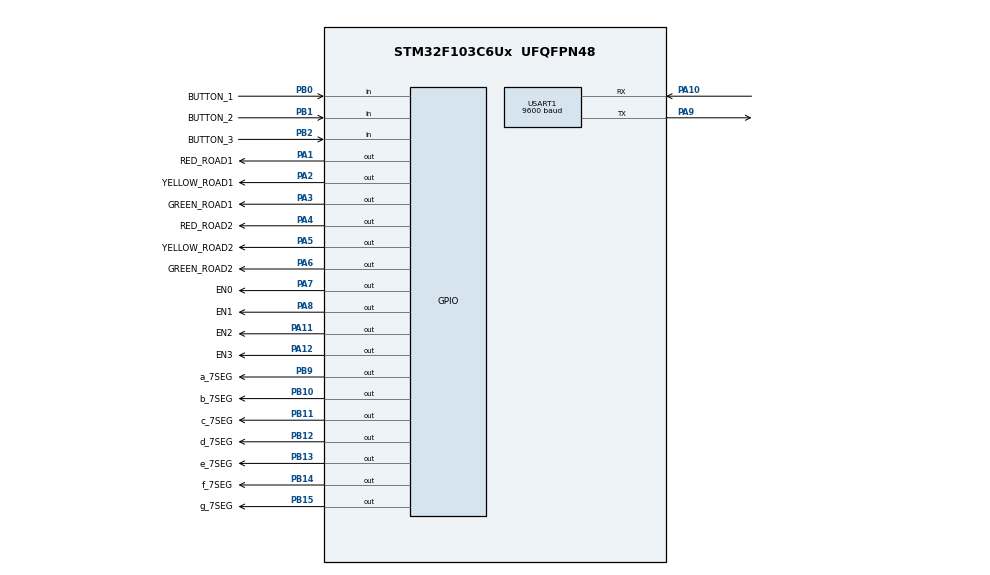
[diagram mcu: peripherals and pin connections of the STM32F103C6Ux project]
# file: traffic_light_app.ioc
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Mcu.Family=STM32F1
Mcu.Name=STM32F103C6Ux
Mcu.Package=UFQFPN48
NVIC.PriorityGroup=NVIC_PRIORITYGROUP_4
NVIC.TIM2_IRQn=true\:0\:0\:false\:false\:true\:true\:true
NVIC.USART1_IRQn=true\:0\:0\:false\:false\:true\:true\:true
PA1.GPIO_Label=RED_ROAD1
PA1.Signal=GPIO_Output
PA10.Mode=Asynchronous
PA10.Signal=USART1_RX
PA11.GPIO_Label=EN2
PA11.Signal=GPIO_Output
PA12.GPIO_Label=EN3
PA12.Signal=GPIO_Output
PA2.GPIO_Label=YELLOW_ROAD1
PA2.Signal=GPIO_Output
PA3.GPIO_Label=GREEN_ROAD1
PA3.Signal=GPIO_Output
PA4.GPIO_Label=RED_ROAD2
PA4.Signal=GPIO_Output
PA5.GPIO_Label=YELLOW_ROAD2
PA5.Signal=GPIO_Output
PA6.GPIO_Label=GREEN_ROAD2
PA6.Signal=GPIO_Output
PA7.GPIO_Label=EN0
PA7.Signal=GPIO_Output
PA8.GPIO_Label=EN1
PA8.Signal=GPIO_Output
PA9.Mode=Asynchronous
PA9.Signal=USART1_TX
PB0.GPIO_Label=BUTTON_1
PB0.GPIO_PuPd=GPIO_PULLUP
PB0.Signal=GPIO_Input
PB1.GPIO_Label=BUTTON_2
PB1.GPIO_PuPd=GPIO_PULLUP
PB1.Signal=GPIO_Input
PB10.GPIO_Label=b_7SEG
PB10.Signal=GPIO_Output
PB11.GPIO_Label=c_7SEG
PB11.Signal=GPIO_Output
PB12.GPIO_Label=d_7SEG
PB12.Signal=GPIO_Output
PB13.GPIO_Label=e_7SEG
PB13.Signal=GPIO_Output
PB14.GPIO_Label=f_7SEG
PB14.Signal=GPIO_Output
PB15.GPIO_Label=g_7SEG
PB15.Signal=GPIO_Output
PB2.GPIO_Label=BUTTON_3
PB2.GPIO_PuPd=GPIO_PULLUP
PB2.Signal=GPIO_Input
PB9.GPIO_Label=a_7SEG
PB9.Signal=GPIO_Output
ProjectManager.HeapSize=0x200
ProjectManager.StackSize=0x400
ProjectManager.TargetToolchain=STM32CubeIDE
RCC.APB1Freq_Value=8000000
RCC.APB2Freq_Value=8000000
TIM2.Period=9
TIM2.Prescaler=7999
USART1.BaudRate=9600
USART1.VirtualMode=VM_ASYNC
VP_SYS_VS_ND.Mode=No_Debug
VP_TIM2_VS_ClockSourceINT.Mode=Internal
board=custom

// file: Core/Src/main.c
/* USER CODE BEGIN Header */
/**
  ******************************************************************************
  * @file           : main.c
  * @brief          : Main program body
  ******************************************************************************
  * @attention
  *
  * <h2><center>&copy; Copyright (c) 2022 STMicroelectronics.
  * All rights reserved.</center></h2>
  *
  * This software component is licensed by ST under BSD 3-Clause license,
  * the "License"; You may not use this file except in compliance with the
  * License. You may obtain a copy of the License at:
  *                        opensource.org/licenses/BSD-3-Clause
  *
  ******************************************************************************
  */
/* USER CODE END Header */
#include "main.h"

/* USER CODE BEGIN Includes */
#include "timer.h"
#include "input_processing.h"
#include "input_reading.h"
#include "display7SEG.h"
#include "traffic_light.h"
#include "global.h"

/* USER CODE END Includes */

TIM_HandleTypeDef htim2;

UART_HandleTypeDef huart1;

void SystemClock_Config(void);
static void MX_GPIO_Init(void);
static void MX_TIM2_Init(void);
static void MX_USART1_UART_Init(void);

/* USER CODE BEGIN 0 */
uint8_t temp = 0;

void HAL_UART_RxCpltCallback ( UART_HandleTypeDef * huart ){
 if(huart -> Instance == USART1 ){
 HAL_UART_Transmit (& huart1 , &temp , 1, 50) ;
 HAL_UART_Receive_IT (& huart1 , &temp , 1);

 }
 }
char str[1000];
void display7SEG_U1(int num){
//	HAL_GPIO_WritePin(GPIOB, a_7SEG_Pin|b_7SEG_Pin|c_7SEG_Pin|d_7SEG_Pin
//		  			  		 |e_7SEG_Pin|f_7SEG_Pin|g_7SEG_Pin, 0);
	//counter++;
	HAL_UART_Transmit(&huart1, (void*) str, sprintf(str, "!7SEG Road1:%d#\r\n",num), 1000);

}
void display7SEG_U2(int num){
//	HAL_GPIO_WritePin(GPIOB, a_7SEG_Pin|b_7SEG_Pin|c_7SEG_Pin|d_7SEG_Pin
//		  			  		 |e_7SEG_Pin|f_7SEG_Pin|g_7SEG_Pin, 0);
	//counter++;
	HAL_UART_Transmit(&huart1, (void*) str, sprintf(str, "!7SEG Road2:%d#\r\n -------------- \r\n",num), 1000);

}
/* USER CODE END 0 */

int main(void)
{

  /* MCU Configuration--------------------------------------------------------*/

  /* Reset of all peripherals, Initializes the Flash interface and the Systick. */
  HAL_Init();

  /* Configure the system clock */
  SystemClock_Config();

  /* Initialize all configured peripherals */
  MX_GPIO_Init();
  MX_TIM2_Init();
  MX_USART1_UART_Init();
  /* USER CODE BEGIN 2 */
  HAL_TIM_Base_Start_IT(&htim2);
  /* USER CODE END 2 */

  /* Infinite loop */
  /* USER CODE BEGIN WHILE */
  setTimer6(1000);
  setTimer7(1000);

  while (1)
  {
	  if (timer6_flag == 1){
	 			  display7SEG_U1(countdown1);

	 		  		setTimer6(1000);
	 		  	}
	 		  if (timer7_flag == 1){
	 		  			  display7SEG_U2(countdown2);

	 		  		  		setTimer7(1000);
	 		  		  	}
	  fsm_automatic_run1();
	  fsm_automatic_run2();
	  fsm_for_7SEG();
	  fsm_for_input_processing();
	  fsm_blinking_mode();

    /* USER CODE END WHILE */

    /* USER CODE BEGIN 3 */
	  //HAL_GPIO_TogglePin(GPIOA, GREEN_ROAD1_Pin);
	  //HAL_Delay(1000);
  }
  /* USER CODE END 3 */
}

void SystemClock_Config(void)
{
  RCC_OscInitTypeDef RCC_OscInitStruct = {0};
  RCC_ClkInitTypeDef RCC_ClkInitStruct = {0};

  /** Initializes the RCC Oscillators according to the specified parameters
  * in the RCC_OscInitTypeDef structure.
  */
  RCC_OscInitStruct.OscillatorType = RCC_OSCILLATORTYPE_HSI;
  RCC_OscInitStruct.HSIState = RCC_HSI_ON;
  RCC_OscInitStruct.HSICalibrationValue = RCC_HSICALIBRATION_DEFAULT;
  RCC_OscInitStruct.PLL.PLLState = RCC_PLL_NONE;
  if (HAL_RCC_OscConfig(&RCC_OscInitStruct) != HAL_OK)
  {
    Error_Handler();
  }
  /** Initializes the CPU, AHB and APB buses clocks
  */
  RCC_ClkInitStruct.ClockType = RCC_CLOCKTYPE_HCLK|RCC_CLOCKTYPE_SYSCLK
                              |RCC_CLOCKTYPE_PCLK1|RCC_CLOCKTYPE_PCLK2;
  RCC_ClkInitStruct.SYSCLKSource = RCC_SYSCLKSOURCE_HSI;
  RCC_ClkInitStruct.AHBCLKDivider = RCC_SYSCLK_DIV1;
  RCC_ClkInitStruct.APB1CLKDivider = RCC_HCLK_DIV1;
  RCC_ClkInitStruct.APB2CLKDivider = RCC_HCLK_DIV1;

  if (HAL_RCC_ClockConfig(&RCC_ClkInitStruct, FLASH_LATENCY_0) != HAL_OK)
  {
    Error_Handler();
  }
}

static void MX_TIM2_Init(void)
{

  TIM_ClockConfigTypeDef sClockSourceConfig = {0};
  TIM_MasterConfigTypeDef sMasterConfig = {0};

  htim2.Instance = TIM2;
  htim2.Init.Prescaler = 7999;
  htim2.Init.CounterMode = TIM_COUNTERMODE_UP;
  htim2.Init.Period = 9;
  htim2.Init.ClockDivision = TIM_CLOCKDIVISION_DIV1;
  htim2.Init.AutoReloadPreload = TIM_AUTORELOAD_PRELOAD_DISABLE;
  if (HAL_TIM_Base_Init(&htim2) != HAL_OK)
  {
    Error_Handler();
  }
  sClockSourceConfig.ClockSource = TIM_CLOCKSOURCE_INTERNAL;
  if (HAL_TIM_ConfigClockSource(&htim2, &sClockSourceConfig) != HAL_OK)
  {
    Error_Handler();
  }
  sMasterConfig.MasterOutputTrigger = TIM_TRGO_RESET;
  sMasterConfig.MasterSlaveMode = TIM_MASTERSLAVEMODE_DISABLE;
  if (HAL_TIMEx_MasterConfigSynchronization(&htim2, &sMasterConfig) != HAL_OK)
  {
    Error_Handler();
  }

}

static void MX_USART1_UART_Init(void)
{

  huart1.Instance = USART1;
  huart1.Init.BaudRate = 9600;
  huart1.Init.WordLength = UART_WORDLENGTH_8B;
  huart1.Init.StopBits = UART_STOPBITS_1;
  huart1.Init.Parity = UART_PARITY_NONE;
  huart1.Init.Mode = UART_MODE_TX_RX;
  huart1.Init.HwFlowCtl = UART_HWCONTROL_NONE;
  huart1.Init.OverSampling = UART_OVERSAMPLING_16;
  if (HAL_UART_Init(&huart1) != HAL_OK)
  {
    Error_Handler();
  }

}

static void MX_GPIO_Init(void)
{
  GPIO_InitTypeDef GPIO_InitStruct = {0};

  /* GPIO Ports Clock Enable */
  __HAL_RCC_GPIOA_CLK_ENABLE();
  __HAL_RCC_GPIOB_CLK_ENABLE();

  /*Configure GPIO pin Output Level */
  HAL_GPIO_WritePin(GPIOA, RED_ROAD1_Pin|YELLOW_ROAD1_Pin|GREEN_ROAD1_Pin|RED_ROAD2_Pin
                          |YELLOW_ROAD2_Pin|GREEN_ROAD2_Pin|EN0_Pin|EN1_Pin
                          |EN2_Pin|EN3_Pin, GPIO_PIN_RESET);

  /*Configure GPIO pin Output Level */
  HAL_GPIO_WritePin(GPIOB, b_7SEG_Pin|c_7SEG_Pin|d_7SEG_Pin|e_7SEG_Pin
                          |f_7SEG_Pin|g_7SEG_Pin|a_7SEG_Pin, GPIO_PIN_RESET);

  /*Configure GPIO pins : RED_ROAD1_Pin YELLOW_ROAD1_Pin GREEN_ROAD1_Pin RED_ROAD2_Pin
                           YELLOW_ROAD2_Pin GREEN_ROAD2_Pin EN0_Pin EN1_Pin
                           EN2_Pin EN3_Pin */
  GPIO_InitStruct.Pin = RED_ROAD1_Pin|YELLOW_ROAD1_Pin|GREEN_ROAD1_Pin|RED_ROAD2_Pin
                          |YELLOW_ROAD2_Pin|GREEN_ROAD2_Pin|EN0_Pin|EN1_Pin
                          |EN2_Pin|EN3_Pin;
  GPIO_InitStruct.Mode = GPIO_MODE_OUTPUT_PP;
  GPIO_InitStruct.Pull = GPIO_NOPULL;
  GPIO_InitStruct.Speed = GPIO_SPEED_FREQ_LOW;
  HAL_GPIO_Init(GPIOA, &GPIO_InitStruct);

  /*Configure GPIO pins : BUTTON_1_Pin BUTTON_2_Pin BUTTON_3_Pin */
  GPIO_InitStruct.Pin = BUTTON_1_Pin|BUTTON_2_Pin|BUTTON_3_Pin;
  GPIO_InitStruct.Mode = GPIO_MODE_INPUT;
  GPIO_InitStruct.Pull = GPIO_PULLUP;
  HAL_GPIO_Init(GPIOB, &GPIO_InitStruct);

  /*Configure GPIO pins : b_7SEG_Pin c_7SEG_Pin d_7SEG_Pin e_7SEG_Pin
                           f_7SEG_Pin g_7SEG_Pin a_7SEG_Pin */
  GPIO_InitStruct.Pin = b_7SEG_Pin|c_7SEG_Pin|d_7SEG_Pin|e_7SEG_Pin
                          |f_7SEG_Pin|g_7SEG_Pin|a_7SEG_Pin;
  GPIO_InitStruct.Mode = GPIO_MODE_OUTPUT_PP;
  GPIO_InitStruct.Pull = GPIO_NOPULL;
  GPIO_InitStruct.Speed = GPIO_SPEED_FREQ_LOW;
  HAL_GPIO_Init(GPIOB, &GPIO_InitStruct);

}

/* USER CODE BEGIN 4 */
void HAL_TIM_PeriodElapsedCallback(TIM_HandleTypeDef * htim ){
	timer_run();
	button_reading();
}
/* USER CODE END 4 */

void Error_Handler(void)
{
  __disable_irq();
  while (1)
  {
  }
}

/************************ (C) COPYRIGHT STMicroelectronics *****END OF FILE****/
